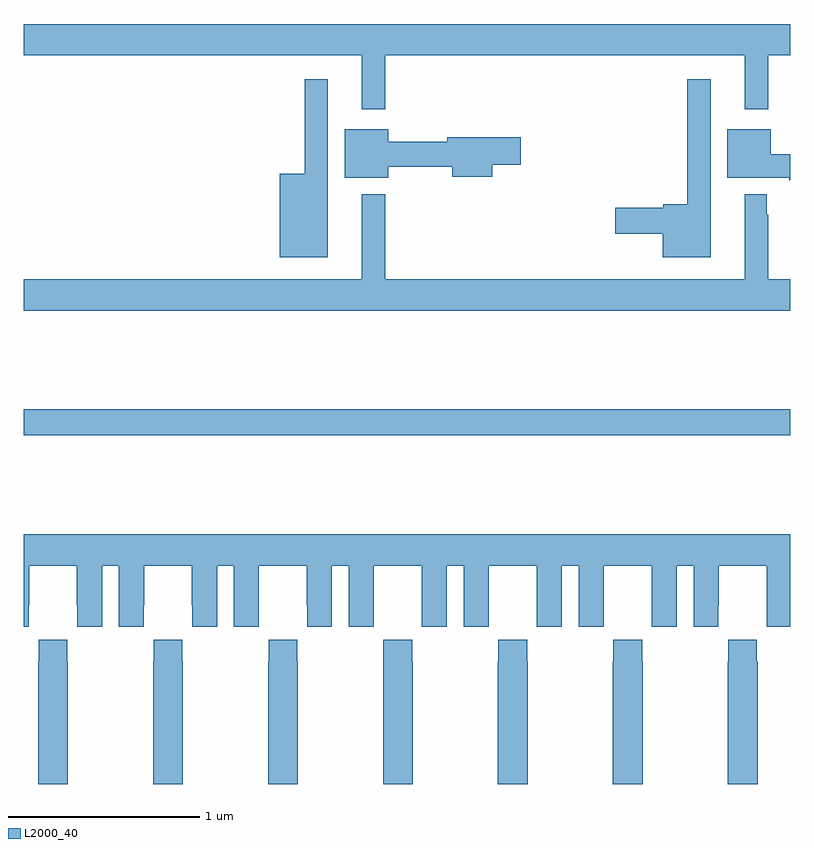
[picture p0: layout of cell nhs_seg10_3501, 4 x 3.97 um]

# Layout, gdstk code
import gdstk
lib = gdstk.Library(unit=1e-6, precision=1e-09)
def R(c, l, rs):  # rectangles x0, y0, x1, y1
    for r in rs: c.add(gdstk.rectangle(r[:2], r[2:], *l))
def P(c, l, *ps):  # polygons
    for p in ps: c.add(gdstk.Polygon(p, *l))
L2000_40 = (2000, 40)

nhs_seg10_3501 = lib.new_cell('nhs_seg10_3501')
R(nhs_seg10_3501, L2000_40, [(301,1310.32,305,1310.456)])
P(nhs_seg10_3501, L2000_40, [(302.887,1312.304),(304.763,1312.304),(304.763,1312.023),(304.885,1312.023),(304.885,1312.304),(305,1312.304),(305,1312.468),(301,1312.468),(301,1312.304),(302.765,1312.304),(302.765,1312.023),(302.887,1312.023)],
  [(302.587,1312.18),(302.466,1312.18),(302.466,1311.685),(302.336,1311.685),(302.336,1311.251),(302.587,1311.251)],
  [(304.585,1312.18),(304.464,1312.18),(304.464,1311.527),(304.338,1311.527),(304.338,1311.509),(304.086,1311.509),(304.086,1311.374),(304.334,1311.374),(304.334,1311.251),(304.585,1311.251)],
  [(302.902,1311.724),(303.236,1311.724),(303.236,1311.671),(303.445,1311.671),(303.445,1311.734),(303.595,1311.734),(303.595,1311.876),(303.21,1311.876),(303.21,1311.853),(302.902,1311.853),(302.902,1311.919),(302.675,1311.919),(302.675,1311.665),(302.902,1311.665)],
  [(305,1311.788),(304.9,1311.788),(304.9,1311.919),(304.673,1311.919),(304.673,1311.665),(304.996,1311.665),(304.996,1311.652),(305,1311.652)],
  [(305,1311.136),(304.885,1311.136),(304.885,1311.473),(304.878,1311.473),(304.878,1311.58),(304.763,1311.58),(304.763,1311.136),(302.887,1311.136),(302.887,1311.58),(302.765,1311.58),(302.765,1311.136),(301,1311.136),(301,1310.972),(305,1310.972)],
  [(301,1309.32),(301.026,1309.32),(301.026,1309.432),(301.027,1309.432),(301.027,1309.64),(301.277,1309.64),(301.277,1309.432),(301.278,1309.432),(301.278,1309.32),(301.408,1309.32),(301.408,1309.64),(301.496,1309.64),(301.496,1309.32),(301.626,1309.32),(301.626,1309.432),(301.627,1309.432),(301.627,1309.64),(301.877,1309.64),(301.877,1309.432),(301.878,1309.432),(301.878,1309.32),(302.008,1309.32),(302.008,1309.64),(302.096,1309.64),(302.096,1309.32),(302.226,1309.32),(302.226,1309.432),(302.227,1309.432),(302.227,1309.64),(302.477,1309.64),(302.477,1309.432),(302.478,1309.432),(302.478,1309.32),(302.608,1309.32),(302.608,1309.64),(302.696,1309.64),(302.696,1309.32),(302.826,1309.32),(302.826,1309.432),(302.827,1309.432),(302.827,1309.64),(303.077,1309.64),(303.077,1309.432),(303.078,1309.432),(303.078,1309.32),(303.208,1309.32),(303.208,1309.64),(303.296,1309.64),(303.296,1309.32),(303.426,1309.32),(303.426,1309.432),(303.427,1309.432),(303.427,1309.64),(303.677,1309.64),(303.677,1309.432),(303.678,1309.432),(303.678,1309.32),(303.808,1309.32),(303.808,1309.64),(303.896,1309.64),(303.896,1309.32),(304.026,1309.32),(304.026,1309.432),(304.027,1309.432),(304.027,1309.64),(304.277,1309.64),(304.277,1309.432),(304.278,1309.432),(304.278,1309.32),(304.408,1309.32),(304.408,1309.64),(304.496,1309.64),(304.496,1309.32),(304.626,1309.32),(304.626,1309.432),(304.627,1309.432),(304.627,1309.64),(304.877,1309.64),(304.877,1309.432),(304.878,1309.432),(304.878,1309.32),(305,1309.32),(305,1309.804),(301,1309.804)],
  [(304.83,1309.139),(304.827,1309.139),(304.827,1309.252),(304.677,1309.252),(304.677,1309.139),(304.675,1309.139),(304.675,1308.5),(304.83,1308.5)],
  [(301.23,1309.139),(301.227,1309.139),(301.227,1309.252),(301.077,1309.252),(301.077,1309.139),(301.075,1309.139),(301.075,1308.5),(301.23,1308.5)],
  [(301.83,1309.139),(301.827,1309.139),(301.827,1309.252),(301.677,1309.252),(301.677,1309.139),(301.675,1309.139),(301.675,1308.5),(301.83,1308.5)],
  [(302.43,1309.139),(302.427,1309.139),(302.427,1309.252),(302.277,1309.252),(302.277,1309.139),(302.275,1309.139),(302.275,1308.5),(302.43,1308.5)],
  [(303.03,1309.139),(303.027,1309.139),(303.027,1309.252),(302.877,1309.252),(302.877,1309.139),(302.875,1309.139),(302.875,1308.5),(303.03,1308.5)],
  [(303.63,1309.139),(303.627,1309.139),(303.627,1309.252),(303.477,1309.252),(303.477,1309.139),(303.475,1309.139),(303.475,1308.5),(303.63,1308.5)],
  [(304.23,1309.139),(304.227,1309.139),(304.227,1309.252),(304.077,1309.252),(304.077,1309.139),(304.075,1309.139),(304.075,1308.5),(304.23,1308.5)])

lib.write_gds('nhs_seg10_3501.gds')
